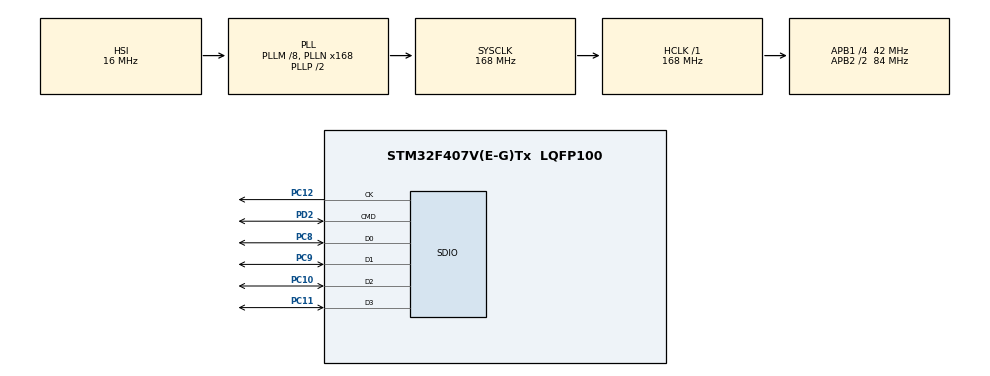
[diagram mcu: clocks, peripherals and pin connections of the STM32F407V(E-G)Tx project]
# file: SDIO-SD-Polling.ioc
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Mcu.Family=STM32F4
Mcu.Name=STM32F407V(E-G)Tx
Mcu.Package=LQFP100
NVIC.PriorityGroup=NVIC_PRIORITYGROUP_4
PC10.Mode=SD_4_bits_Wide_bus
PC10.Signal=SDIO_D2
PC11.Mode=SD_4_bits_Wide_bus
PC11.Signal=SDIO_D3
PC12.Mode=SD_4_bits_Wide_bus
PC12.Signal=SDIO_CK
PC8.Mode=SD_4_bits_Wide_bus
PC8.Signal=SDIO_D0
PC9.Mode=SD_4_bits_Wide_bus
PC9.Signal=SDIO_D1
PD2.Mode=SD_4_bits_Wide_bus
PD2.Signal=SDIO_CMD
ProjectManager.HeapSize=0x200
ProjectManager.StackSize=0x400
ProjectManager.TargetToolchain=MDK-ARM V5.27
RCC.48MHZClocksFreq_Value=48000000
RCC.AHBFreq_Value=168000000
RCC.APB1CLKDivider=RCC_HCLK_DIV4
RCC.APB1Freq_Value=42000000
RCC.APB1TimFreq_Value=84000000
RCC.APB2CLKDivider=RCC_HCLK_DIV2
RCC.APB2Freq_Value=84000000
RCC.APB2TimFreq_Value=168000000
RCC.CortexFreq_Value=168000000
RCC.HCLKFreq_Value=168000000
RCC.HSE_VALUE=25000000
RCC.HSI_VALUE=16000000
RCC.LSE_VALUE=32768
RCC.PLLM=8
RCC.PLLN=168
RCC.PLLQ=7
RCC.SYSCLKFreq_VALUE=168000000
RCC.SYSCLKSource=RCC_SYSCLKSOURCE_PLLCLK
RCC.VCOOutputFreq_Value=336000000
SDIO.ClockDiv=6
board=custom

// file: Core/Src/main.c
/* USER CODE BEGIN Header */
/**
  ******************************************************************************
  * @file           : main.c
  * @brief          : Main program body
  ******************************************************************************
  * @attention
  *
  * <h2><center>&copy; Copyright (c) 2024 STMicroelectronics.
  * All rights reserved.</center></h2>
  *
  * This software component is licensed by ST under BSD 3-Clause license,
  * the "License"; You may not use this file except in compliance with the
  * License. You may obtain a copy of the License at:
  *                        opensource.org/licenses/BSD-3-Clause
  *
  ******************************************************************************
  */
/* USER CODE END Header */
#include "main.h"
#include "sdio.h"
#include "gpio.h"

/* USER CODE BEGIN Includes */
#include "ALCD.h"
/* USER CODE END Includes */

/* USER CODE BEGIN PD */
#define BLK_SIZE          512
/* USER CODE END PD */

/* USER CODE BEGIN PV */
static const char TEMPLATE[BLK_SIZE] = "Block Polling";

static char buff[BLK_SIZE] = {0};
/* USER CODE END PV */

void SystemClock_Config(void);

int main(void)
{
  /* USER CODE BEGIN 1 */
  HAL_SD_CardInfoTypeDef cardInfo = {0};
  /* USER CODE END 1 */

  /* MCU Configuration--------------------------------------------------------*/

  /* Reset of all peripherals, Initializes the Flash interface and the Systick. */
  HAL_Init();

  /* Configure the system clock */
  SystemClock_Config();

  /* Initialize all configured peripherals */
  MX_GPIO_Init();
  MX_SDIO_SD_Init();
  /* USER CODE BEGIN 2 */
  ALCD_init(16, 2);
  ALCD_clear();

  // Get SD Card Info
  if (HAL_SD_GetCardInfo(&hsd, &cardInfo) != HAL_OK) {
    ALCD_putsXY(0, 1, "GetInfo Failed!");
    Error_Handler();
  }
  ALCD_printfXY(0, 0, "%ux%u", cardInfo.BlockNbr, cardInfo.BlockSize);

  // Write Block
  if (HAL_SD_WriteBlocks(&hsd, (uint8_t*) TEMPLATE, 0, sizeof(TEMPLATE) / BLK_SIZE, 1000) != HAL_OK) {
    ALCD_putsXY(0, 1, "Write Failed!");
    Error_Handler();
  }

  // Wait for Complete Operation
  // Way 1:
  //HAL_Delay(10);
  // Way 2:
  //while (__HAL_SD_GET_FLAG(&hsd, SDIO_FLAG_TXACT) == ENABLE);
  // Way 3:
  while (HAL_SD_GetCardState(&hsd) != HAL_SD_CARD_TRANSFER);

  // Read Block
  if (HAL_SD_ReadBlocks(&hsd, (uint8_t*) buff, 0, sizeof(buff) / BLK_SIZE, 1000) != HAL_OK) {
    ALCD_putsXY(0, 1, "Read Failed!");
    Error_Handler();
  }
  ALCD_putsXY(0, 1, buff);

  /* USER CODE END 2 */

  /* Infinite loop */
  while (1)
  {

  }
}

void SystemClock_Config(void)
{
  RCC_OscInitTypeDef RCC_OscInitStruct = {0};
  RCC_ClkInitTypeDef RCC_ClkInitStruct = {0};

  /** Configure the main internal regulator output voltage
  */
  __HAL_RCC_PWR_CLK_ENABLE();
  __HAL_PWR_VOLTAGESCALING_CONFIG(PWR_REGULATOR_VOLTAGE_SCALE1);
  /** Initializes the RCC Oscillators according to the specified parameters
  * in the RCC_OscInitTypeDef structure.
  */
  RCC_OscInitStruct.OscillatorType = RCC_OSCILLATORTYPE_HSI;
  RCC_OscInitStruct.HSIState = RCC_HSI_ON;
  RCC_OscInitStruct.HSICalibrationValue = RCC_HSICALIBRATION_DEFAULT;
  RCC_OscInitStruct.PLL.PLLState = RCC_PLL_ON;
  RCC_OscInitStruct.PLL.PLLSource = RCC_PLLSOURCE_HSI;
  RCC_OscInitStruct.PLL.PLLM = 8;
  RCC_OscInitStruct.PLL.PLLN = 168;
  RCC_OscInitStruct.PLL.PLLP = RCC_PLLP_DIV2;
  RCC_OscInitStruct.PLL.PLLQ = 7;
  if (HAL_RCC_OscConfig(&RCC_OscInitStruct) != HAL_OK)
  {
    Error_Handler();
  }
  /** Initializes the CPU, AHB and APB buses clocks
  */
  RCC_ClkInitStruct.ClockType = RCC_CLOCKTYPE_HCLK|RCC_CLOCKTYPE_SYSCLK
                              |RCC_CLOCKTYPE_PCLK1|RCC_CLOCKTYPE_PCLK2;
  RCC_ClkInitStruct.SYSCLKSource = RCC_SYSCLKSOURCE_PLLCLK;
  RCC_ClkInitStruct.AHBCLKDivider = RCC_SYSCLK_DIV1;
  RCC_ClkInitStruct.APB1CLKDivider = RCC_HCLK_DIV4;
  RCC_ClkInitStruct.APB2CLKDivider = RCC_HCLK_DIV2;

  if (HAL_RCC_ClockConfig(&RCC_ClkInitStruct, FLASH_LATENCY_5) != HAL_OK)
  {
    Error_Handler();
  }
}

void Error_Handler(void)
{
  __disable_irq();
  while (1)
  {
  }
}

/************************ (C) COPYRIGHT STMicroelectronics *****END OF FILE****/
